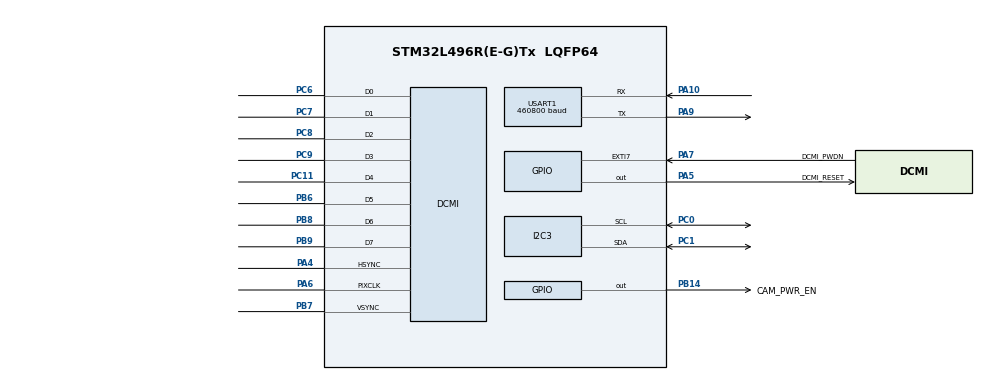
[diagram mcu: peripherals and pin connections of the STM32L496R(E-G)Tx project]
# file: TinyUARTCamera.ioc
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DCMI.JPEGMode=DCMI_JPEG_ENABLE
DCMI.PCKPolarity=DCMI_PCKPOLARITY_RISING
DCMI.VSPolarity=DCMI_VSPOLARITY_HIGH
Dma.DCMI.0.Direction=DMA_PERIPH_TO_MEMORY
Dma.DCMI.0.Instance=DMA2_Channel5
Dma.DCMI.0.MemDataAlignment=DMA_MDATAALIGN_WORD
Dma.DCMI.0.MemInc=DMA_MINC_ENABLE
Dma.DCMI.0.Mode=DMA_CIRCULAR
Dma.DCMI.0.PeriphDataAlignment=DMA_PDATAALIGN_WORD
Dma.DCMI.0.PeriphInc=DMA_PINC_DISABLE
Dma.DCMI.0.Priority=DMA_PRIORITY_HIGH
Dma.Request0=DCMI
I2C3.Timing=0x10909CEC
Mcu.Family=STM32L4
Mcu.Name=STM32L496R(E-G)Tx
Mcu.Package=LQFP64
NVIC.DCMI_IRQn=true\:0\:0\:false\:false\:true\:true\:true\:true
NVIC.DMA2_Channel5_IRQn=true\:0\:0\:false\:false\:true\:false\:true\:true
NVIC.PriorityGroup=NVIC_PRIORITYGROUP_4
PA10.Mode=Asynchronous
PA10.Signal=USART1_RX
PA13\ (JTMS/SWDIO).Mode=Serial_Wire
PA13\ (JTMS/SWDIO).Signal=SYS_JTMS-SWDIO
PA14\ (JTCK/SWCLK).Mode=Serial_Wire
PA14\ (JTCK/SWCLK).Signal=SYS_JTCK-SWCLK
PA4.GPIO_PuPd=GPIO_PULLUP
PA4.GPIO_Speed=GPIO_SPEED_FREQ_HIGH
PA4.Mode=Slave_8_bits_External_Synchro
PA4.Signal=DCMI_HSYNC
PA5.GPIO_Label=DCMI_RESET
PA5.Signal=GPIO_Output
PA6.GPIO_PuPd=GPIO_PULLUP
PA6.GPIO_Speed=GPIO_SPEED_FREQ_HIGH
PA6.Mode=Slave_8_bits_External_Synchro
PA6.Signal=DCMI_PIXCLK
PA7.GPIO_Label=DCMI_PWDN
PA7.GPIO_PuPd=GPIO_NOPULL
PA7.Signal=GPXTI7
PA9.Mode=Asynchronous
PA9.Signal=USART1_TX
PB14.GPIO_Label=CAM_PWR_EN
PB14.Signal=GPIO_Output
PB6.GPIO_PuPd=GPIO_PULLUP
PB6.GPIO_Speed=GPIO_SPEED_FREQ_HIGH
PB6.Mode=Slave_8_bits_External_Synchro
PB6.Signal=DCMI_D5
PB7.GPIO_PuPd=GPIO_PULLUP
PB7.GPIO_Speed=GPIO_SPEED_FREQ_HIGH
PB7.Mode=Slave_8_bits_External_Synchro
PB7.Signal=DCMI_VSYNC
PB8.GPIO_PuPd=GPIO_PULLUP
PB8.GPIO_Speed=GPIO_SPEED_FREQ_HIGH
PB8.Mode=Slave_8_bits_External_Synchro
PB8.Signal=DCMI_D6
PB9.GPIO_PuPd=GPIO_PULLUP
PB9.GPIO_Speed=GPIO_SPEED_FREQ_HIGH
PB9.Mode=Slave_8_bits_External_Synchro
PB9.Signal=DCMI_D7
PC0.GPIO_Pu=GPIO_PULLUP
PC0.Mode=I2C
PC0.Signal=I2C3_SCL
PC1.GPIO_Pu=GPIO_PULLUP
PC1.Mode=I2C
PC1.Signal=I2C3_SDA
PC11.GPIO_PuPd=GPIO_PULLUP
PC11.GPIO_Speed=GPIO_SPEED_FREQ_HIGH
PC11.Mode=Slave_8_bits_External_Synchro
PC11.Signal=DCMI_D4
PC6.GPIO_PuPd=GPIO_PULLUP
PC6.GPIO_Speed=GPIO_SPEED_FREQ_HIGH
PC6.Mode=Slave_8_bits_External_Synchro
PC6.Signal=DCMI_D0
PC7.GPIO_PuPd=GPIO_PULLUP
PC7.GPIO_Speed=GPIO_SPEED_FREQ_HIGH
PC7.Mode=Slave_8_bits_External_Synchro
PC7.Signal=DCMI_D1
PC8.GPIO_PuPd=GPIO_PULLUP
PC8.GPIO_Speed=GPIO_SPEED_FREQ_HIGH
PC8.Mode=Slave_8_bits_External_Synchro
PC8.Signal=DCMI_D2
PC9.GPIO_PuPd=GPIO_PULLUP
PC9.GPIO_Speed=GPIO_SPEED_FREQ_HIGH
PC9.Mode=Slave_8_bits_External_Synchro
PC9.Signal=DCMI_D3
ProjectManager.HeapSize=0x1000
ProjectManager.StackSize=0x1000
ProjectManager.TargetToolchain=STM32CubeIDE
RCC.ADCFreq_Value=64000000
RCC.AHBFreq_Value=80000000
RCC.APB1Freq_Value=80000000
RCC.APB1TimFreq_Value=80000000
RCC.APB2Freq_Value=80000000
RCC.APB2TimFreq_Value=80000000
RCC.CortexFreq_Value=80000000
RCC.HCLKFreq_Value=80000000
RCC.HSE_VALUE=8000000
RCC.HSI48_VALUE=48000000
RCC.HSI_VALUE=16000000
RCC.I2C3CLockSelection=RCC_I2C3CLKSOURCE_SYSCLK
RCC.LSE_VALUE=32768
RCC.MSI_VALUE=4000000
RCC.PLLN=10
RCC.PLLSourceVirtual=RCC_PLLSOURCE_HSI
RCC.SYSCLKFreq_VALUE=80000000
RCC.SYSCLKSource=RCC_SYSCLKSOURCE_PLLCLK
RCC.USART1CLockSelection=RCC_USART1CLKSOURCE_SYSCLK
RCC.USBFreq_Value=64000000
RCC.VCOOutputFreq_Value=160000000
USART1.BaudRate=460800
USART1.VirtualMode-Asynchronous=VM_ASYNC
board=custom

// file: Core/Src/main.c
/* USER CODE BEGIN Header */
/**
 ******************************************************************************
 * @file           : main.c
 * @brief          : Main program body
 ******************************************************************************
 * @attention
 *
 * Copyright (c) 2022 STMicroelectronics.
 * All rights reserved.
 *
 * This software is licensed under terms that can be found in the LICENSE file
 * in the root directory of this software component.
 * If no LICENSE file comes with this software, it is provided AS-IS.
 *
 ******************************************************************************
 */
/* USER CODE END Header */
#include "main.h"

/* USER CODE BEGIN Includes */
#include <string.h>
#include <stdio.h>
#include <stdarg.h>
#include "ov2640.h"
/* USER CODE END Includes */

/* USER CODE BEGIN PD */
//the maximum linear address space is 65535 in word unit (32bits) for DMA.
//If the image size in words does not exceed 65535, the stream can be configured in normal mode.
#define JPEG_BUFFER_SIZE  (1024*31)  //31kB buffer size.
uint32_t iJpegBufferSize = JPEG_BUFFER_SIZE;
uint32_t iJpegBuffer[JPEG_BUFFER_SIZE];
uint32_t iVsyncCnt = 0;
uint32_t iFps = 0;

//#define RES160X120
#define RES320X240
//#define RES640X480
//#define RES800x600
//#define RES1024x768
//#define RES1280x960

#ifdef RES160X120
enum imageResolution imgRes=RES_160X120;
uint8_t frameBuffer[RES_160X120] = { 0 };
#endif

#ifdef RES320X240
enum imageResolution imgRes = RES_320X240;
uint8_t frameBuffer[RES_320X240] =
  { 0 };
#endif

#ifdef RES640X480
enum imageResolution imgRes=RES_640X480;
uint8_t frameBuffer[RES_640X480] = { 0 };
#endif

#ifdef RES800x600
enum imageResolution imgRes=RES_800x600;
uint8_t frameBuffer[RES_800x600] = { 0 };
#endif

#ifdef RES1024x768
enum imageResolution imgRes=RES_1024x768;
uint8_t frameBuffer[RES_1024x768] = { 0 };
#endif

#ifdef RES1280x960
enum imageResolution imgRes = RES_1280x960;
uint8_t frameBuffer[RES_1280x960] ={ 0 };
#endif
/* USER CODE END PD */

DCMI_HandleTypeDef hdcmi;
DMA_HandleTypeDef hdma_dcmi;

I2C_HandleTypeDef hi2c3;

UART_HandleTypeDef huart1;

/* USER CODE BEGIN PV */
uint8_t g_iVSYNCFlag = 0;
/* USER CODE END PV */

void
SystemClock_Config (void);
static void
MX_GPIO_Init (void);
static void
MX_DMA_Init (void);
static void
MX_DCMI_Init (void);
static void
MX_USART1_UART_Init (void);
static void
MX_I2C3_Init (void);

/* USER CODE BEGIN 0 */
void
vprint (const char *fmt, va_list argp)
{
  char string[200];
  if (0 < vsprintf (string, fmt, argp)) // build string
    {
      HAL_UART_Transmit (&huart1, (uint8_t*) string, strlen (string), 0xffffff); // send message via UART
    }
}

void
uart_printf (const char *fmt, ...) // custom printf() function
{
#ifdef UART_DEBUG
  va_list argp;
  va_start(argp, fmt);
  vprint (fmt, argp);
  va_end(argp);
#endif
}
/* USER CODE END 0 */

int
main (void)
{
  /* USER CODE BEGIN 1 */
  uint16_t i;
  /* USER CODE END 1 */

  /* MCU Configuration--------------------------------------------------------*/

  /* Reset of all peripherals, Initializes the Flash interface and the Systick. */
  HAL_Init ();

  /* Configure the system clock */
  SystemClock_Config ();

  /* Initialize all configured peripherals */
  MX_GPIO_Init ();
  MX_DMA_Init ();
  MX_DCMI_Init ();
  MX_USART1_UART_Init ();
  MX_I2C3_Init ();
  /* USER CODE BEGIN 2 */

  //1. Turn on the power switch to power camera module.
  HAL_GPIO_WritePin (CAM_PWR_EN_GPIO_Port, CAM_PWR_EN_Pin, GPIO_PIN_SET);
  HAL_Delay (1000);

  //2. Initial OV2640 registers via I2C.
  OV2640_Init (&hi2c3, &hdcmi);
  HAL_Delay (100);
  //OV2640_ResolutionOptions (imgRes);
  HAL_Delay (100);

  /* Disable unwanted HSYNC (IT_LINE) / VSYNC (IT_VSYNC) interrupts */
  __HAL_DCMI_DISABLE_IT(&hdcmi, DCMI_IT_LINE | DCMI_IT_VSYNC);

  /* USER CODE END 2 */

  /* Infinite loop */
  /* USER CODE BEGIN WHILE */
  while (1)
    {
      int recv_len;
      switch (g_iVSYNCFlag)
	{
	case 0:
	  uart_printf ("start DMA\r\n");
	  memset (iJpegBuffer, 0, iJpegBufferSize);
	  HAL_DCMI_Start_DMA (&hdcmi, DCMI_MODE_SNAPSHOT, (uint32_t) iJpegBuffer, iJpegBufferSize);
	  g_iVSYNCFlag = 1;
	  break;

	case 1:
	  uart_printf ("waiting IT_FRAME...\r\n");
	  HAL_Delay (100);
	  break;

	case 2:
	  uart_printf ("get Frame\r\n");
	  g_iVSYNCFlag = 3;
	  break;

	case 3:
	  recv_len = iJpegBufferSize - __HAL_DMA_GET_COUNTER(hdcmi.DMA_Handle);
	  uart_printf ("get VSYNC %d,Frame:%d DMA:%d\r\n", iVsyncCnt, iFps, recv_len);
	  //dump first 10 bytes data to uart.
	  for(i=0;i<recv_len;i++)
	   {
	      HAL_UART_Transmit (&huart1, (uint8_t*)& iJpegBuffer[i], 4, 0xffffff);
	   }

	  g_iVSYNCFlag = 4;
	  break;

	case 4:
	  //uart_printf ("Stop\r\n");
	  HAL_Delay (1000);
	  g_iVSYNCFlag = 0;
	  break;

	default:
	  break;
	}
      /* USER CODE END WHILE */

    }
}

void
SystemClock_Config (void)
{
  RCC_OscInitTypeDef RCC_OscInitStruct =
    { 0 };
  RCC_ClkInitTypeDef RCC_ClkInitStruct =
    { 0 };

  /** Configure the main internal regulator output voltage
   */
  if (HAL_PWREx_ControlVoltageScaling (PWR_REGULATOR_VOLTAGE_SCALE1) != HAL_OK)
    {
      Error_Handler ();
    }

  /** Initializes the RCC Oscillators according to the specified parameters
   * in the RCC_OscInitTypeDef structure.
   */
  RCC_OscInitStruct.OscillatorType = RCC_OSCILLATORTYPE_HSI;
  RCC_OscInitStruct.HSIState = RCC_HSI_ON;
  RCC_OscInitStruct.HSICalibrationValue = RCC_HSICALIBRATION_DEFAULT;
  RCC_OscInitStruct.PLL.PLLState = RCC_PLL_ON;
  RCC_OscInitStruct.PLL.PLLSource = RCC_PLLSOURCE_HSI;
  RCC_OscInitStruct.PLL.PLLM = 1;
  RCC_OscInitStruct.PLL.PLLN = 10;
  RCC_OscInitStruct.PLL.PLLP = RCC_PLLP_DIV2;
  RCC_OscInitStruct.PLL.PLLQ = RCC_PLLQ_DIV2;
  RCC_OscInitStruct.PLL.PLLR = RCC_PLLR_DIV2;
  if (HAL_RCC_OscConfig (&RCC_OscInitStruct) != HAL_OK)
    {
      Error_Handler ();
    }

  /** Initializes the CPU, AHB and APB buses clocks
   */
  RCC_ClkInitStruct.ClockType = RCC_CLOCKTYPE_HCLK | RCC_CLOCKTYPE_SYSCLK | RCC_CLOCKTYPE_PCLK1 | RCC_CLOCKTYPE_PCLK2;
  RCC_ClkInitStruct.SYSCLKSource = RCC_SYSCLKSOURCE_PLLCLK;
  RCC_ClkInitStruct.AHBCLKDivider = RCC_SYSCLK_DIV1;
  RCC_ClkInitStruct.APB1CLKDivider = RCC_HCLK_DIV1;
  RCC_ClkInitStruct.APB2CLKDivider = RCC_HCLK_DIV1;

  if (HAL_RCC_ClockConfig (&RCC_ClkInitStruct, FLASH_LATENCY_4) != HAL_OK)
    {
      Error_Handler ();
    }
}

static void
MX_DCMI_Init (void)
{

  hdcmi.Instance = DCMI;
  hdcmi.Init.SynchroMode = DCMI_SYNCHRO_HARDWARE;
  hdcmi.Init.PCKPolarity = DCMI_PCKPOLARITY_RISING;
  hdcmi.Init.VSPolarity = DCMI_VSPOLARITY_LOW;
  hdcmi.Init.HSPolarity = DCMI_HSPOLARITY_LOW;
  hdcmi.Init.CaptureRate = DCMI_CR_ALL_FRAME;
  hdcmi.Init.ExtendedDataMode = DCMI_EXTEND_DATA_8B;
  hdcmi.Init.JPEGMode = DCMI_JPEG_ENABLE;
  hdcmi.Init.ByteSelectMode = DCMI_BSM_ALL;
  hdcmi.Init.ByteSelectStart = DCMI_OEBS_ODD;
  hdcmi.Init.LineSelectMode = DCMI_LSM_ALL;
  hdcmi.Init.LineSelectStart = DCMI_OELS_ODD;
  if (HAL_DCMI_Init (&hdcmi) != HAL_OK)
    {
      Error_Handler ();
    }

}

static void
MX_I2C3_Init (void)
{

  hi2c3.Instance = I2C3;
  hi2c3.Init.Timing = 0x10909CEC;
  hi2c3.Init.OwnAddress1 = 0;
  hi2c3.Init.AddressingMode = I2C_ADDRESSINGMODE_7BIT;
  hi2c3.Init.DualAddressMode = I2C_DUALADDRESS_DISABLE;
  hi2c3.Init.OwnAddress2 = 0;
  hi2c3.Init.OwnAddress2Masks = I2C_OA2_NOMASK;
  hi2c3.Init.GeneralCallMode = I2C_GENERALCALL_DISABLE;
  hi2c3.Init.NoStretchMode = I2C_NOSTRETCH_DISABLE;
  if (HAL_I2C_Init (&hi2c3) != HAL_OK)
    {
      Error_Handler ();
    }

  /** Configure Analogue filter
   */
  if (HAL_I2CEx_ConfigAnalogFilter (&hi2c3, I2C_ANALOGFILTER_ENABLE) != HAL_OK)
    {
      Error_Handler ();
    }

  /** Configure Digital filter
   */
  if (HAL_I2CEx_ConfigDigitalFilter (&hi2c3, 0) != HAL_OK)
    {
      Error_Handler ();
    }

}

static void
MX_USART1_UART_Init (void)
{

  huart1.Instance = USART1;
  huart1.Init.BaudRate = 460800;
  huart1.Init.WordLength = UART_WORDLENGTH_8B;
  huart1.Init.StopBits = UART_STOPBITS_1;
  huart1.Init.Parity = UART_PARITY_NONE;
  huart1.Init.Mode = UART_MODE_TX_RX;
  huart1.Init.HwFlowCtl = UART_HWCONTROL_NONE;
  huart1.Init.OverSampling = UART_OVERSAMPLING_16;
  huart1.Init.OneBitSampling = UART_ONE_BIT_SAMPLE_DISABLE;
  huart1.AdvancedInit.AdvFeatureInit = UART_ADVFEATURE_NO_INIT;
  if (HAL_UART_Init (&huart1) != HAL_OK)
    {
      Error_Handler ();
    }

}

static void
MX_DMA_Init (void)
{

  /* DMA controller clock enable */
  __HAL_RCC_DMA2_CLK_ENABLE();

  /* DMA interrupt init */
  /* DMA2_Channel5_IRQn interrupt configuration */
  HAL_NVIC_SetPriority (DMA2_Channel5_IRQn, 0, 0);
  HAL_NVIC_EnableIRQ (DMA2_Channel5_IRQn);

}

static void
MX_GPIO_Init (void)
{
  GPIO_InitTypeDef GPIO_InitStruct =
    { 0 };

  /* GPIO Ports Clock Enable */
  __HAL_RCC_GPIOC_CLK_ENABLE();
  __HAL_RCC_GPIOA_CLK_ENABLE();
  __HAL_RCC_GPIOB_CLK_ENABLE();

  /*Configure GPIO pin Output Level */
  HAL_GPIO_WritePin (DCMI_RESET_GPIO_Port, DCMI_RESET_Pin, GPIO_PIN_RESET);

  /*Configure GPIO pin Output Level */
  HAL_GPIO_WritePin (CAM_PWR_EN_GPIO_Port, CAM_PWR_EN_Pin, GPIO_PIN_RESET);

  /*Configure GPIO pin : DCMI_RESET_Pin */
  GPIO_InitStruct.Pin = DCMI_RESET_Pin;
  GPIO_InitStruct.Mode = GPIO_MODE_OUTPUT_PP;
  GPIO_InitStruct.Pull = GPIO_NOPULL;
  GPIO_InitStruct.Speed = GPIO_SPEED_FREQ_LOW;
  HAL_GPIO_Init (DCMI_RESET_GPIO_Port, &GPIO_InitStruct);

  /*Configure GPIO pin : DCMI_PWDN_Pin */
  GPIO_InitStruct.Pin = DCMI_PWDN_Pin;
  GPIO_InitStruct.Mode = GPIO_MODE_IT_RISING;
  GPIO_InitStruct.Pull = GPIO_NOPULL;
  HAL_GPIO_Init (DCMI_PWDN_GPIO_Port, &GPIO_InitStruct);

  /*Configure GPIO pin : CAM_PWR_EN_Pin */
  GPIO_InitStruct.Pin = CAM_PWR_EN_Pin;
  GPIO_InitStruct.Mode = GPIO_MODE_OUTPUT_PP;
  GPIO_InitStruct.Pull = GPIO_NOPULL;
  GPIO_InitStruct.Speed = GPIO_SPEED_FREQ_LOW;
  HAL_GPIO_Init (CAM_PWR_EN_GPIO_Port, &GPIO_InitStruct);

}

/* USER CODE BEGIN 4 */
void
HAL_DCMI_VsyncEventCallback (DCMI_HandleTypeDef *hdcmi)
{

}
void
HAL_DCMI_FrameEventCallback (DCMI_HandleTypeDef *hdcmi)
{
  if (hdcmi->Instance == DCMI)
    {
      HAL_DCMI_Suspend (hdcmi);
      HAL_DCMI_Stop (hdcmi);
      iFps++;
      g_iVSYNCFlag = 2;
    }
}
/* USER CODE END 4 */

void
Error_Handler (void)
{
  /* USER CODE BEGIN Error_Handler_Debug */
  /* User can add his own implementation to report the HAL error return state */
  __disable_irq ();
  while (1)
    {
    }
  /* USER CODE END Error_Handler_Debug */
}
